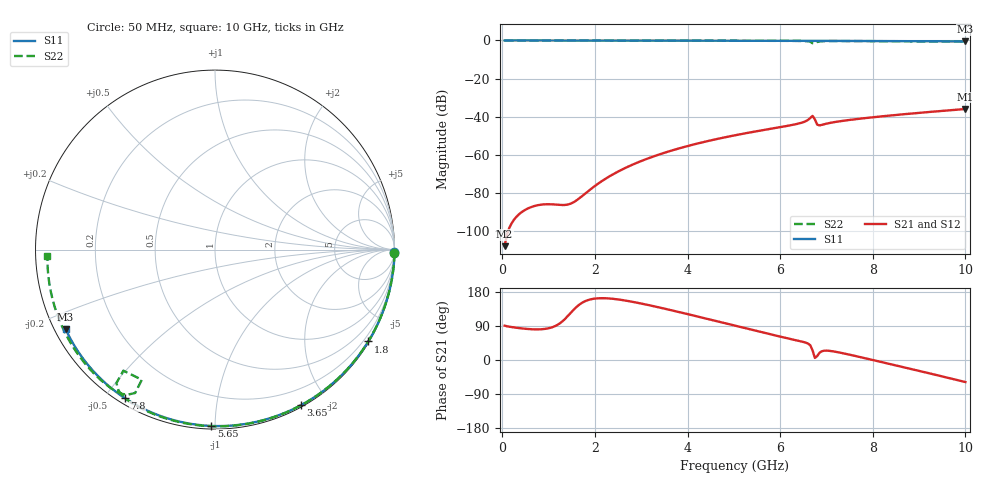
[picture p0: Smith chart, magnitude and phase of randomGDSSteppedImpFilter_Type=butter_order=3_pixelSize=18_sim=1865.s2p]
! freq	dB(S11)	phase(S11)	dB(S12)	phase(S12)
!  dB(S21)	phase(S21)	dB(S22)	phase(S22)
!S-par simulation data
#  GHz  S  DB  R 50
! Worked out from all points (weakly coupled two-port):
!   200 points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, 50 MHz to 10 GHz, reference 50 ohm
!   highest |S21| = -35.95 dB at 10 GHz (marker M1); lowest = -107.9 dB at 50 MHz (marker M2)
!   lowest |S11| = -0.5 dB at 10 GHz (marker M3), VSWR 33.87, Z = 1.57 - j12.4 ohm
!   |S11| at or under -10 dB: nowhere
!   |S22| runs from -1.6 to 0.0 dB; largest |S21 - S12| = 0
!   S11 on the Smith chart (normalised r, x): 50 MHz: open; 1.8 GHz: 0.03, -3.62; 3.65 GHz: 0.02, -1.70; 5.65 GHz: 0.02, -0.98; 7.8 GHz: 0.02, -0.56; 10 GHz: 0.03, -0.25
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0.05  -0.00 -0.9  -107.90 90.7  -107.90 90.7  -0.00 -1.0
0.85  -0.02 -14.8  -86.09 81.1  -86.09 81.1  -0.02 -17.1
1.75  -0.04 -30.1  -81.11 152.8  -81.11 152.8  -0.04 -34.9
1.8  -0.04 -30.9  -80.12 155.8  -80.12 155.8  -0.05 -35.8
2.15  -0.05 -36.8  -73.77 163.2  -73.77 163.2  -0.05 -42.6
2.5  -0.05 -42.6  -68.76 159.8  -68.76 159.8  -0.06 -49.3
2.9  -0.06 -49.1  -64.22 151.4  -64.22 151.4  -0.07 -56.8
3.4  -0.08 -57.1  -59.71 138.4  -59.71 138.4  -0.09 -66.0
3.65  -0.08 -61.1  -57.79 131.3  -57.79 131.3  -0.09 -70.6
5.05  -0.13 -82.4  -49.61 89.9  -49.61 89.9  -0.15 -95.2
5.65  -0.15 -91.2  -46.94 72.0  -46.94 72.0  -0.18 -105.5
6.5  -0.19 -103.3  -42.86 47.6  -42.86 47.6  -0.29 -121.3
6.65  -0.20 -105.4  -40.68 38.9  -40.68 38.9  -0.68 -126.4
6.7  -0.21 -106.1  -39.57 25.6  -39.57 25.6  -1.45 -127.1
6.75  -0.21 -106.9  -41.43 5.3  -41.43 5.3  -1.60 -119.3
6.8  -0.21 -107.6  -44.17 10.5  -44.17 10.5  -0.78 -119.1
6.85  -0.22 -108.3  -44.54 19.2  -44.54 19.2  -0.49 -121.1
7.15  -0.24 -112.4  -42.91 22.7  -42.91 22.7  -0.30 -128.5
7.8  -0.28 -121.4  -40.81 5.7  -40.81 5.7  -0.33 -139.8
8.35  -0.33 -128.9  -39.43 -10.0  -39.43 -10.0  -0.39 -149.1
9.2  -0.41 -140.6  -37.55 -34.5  -37.55 -34.5  -0.48 -163.6
10  -0.51 -152.1  -35.95 -58.2  -35.95 -58.2  -0.59 -177.8
